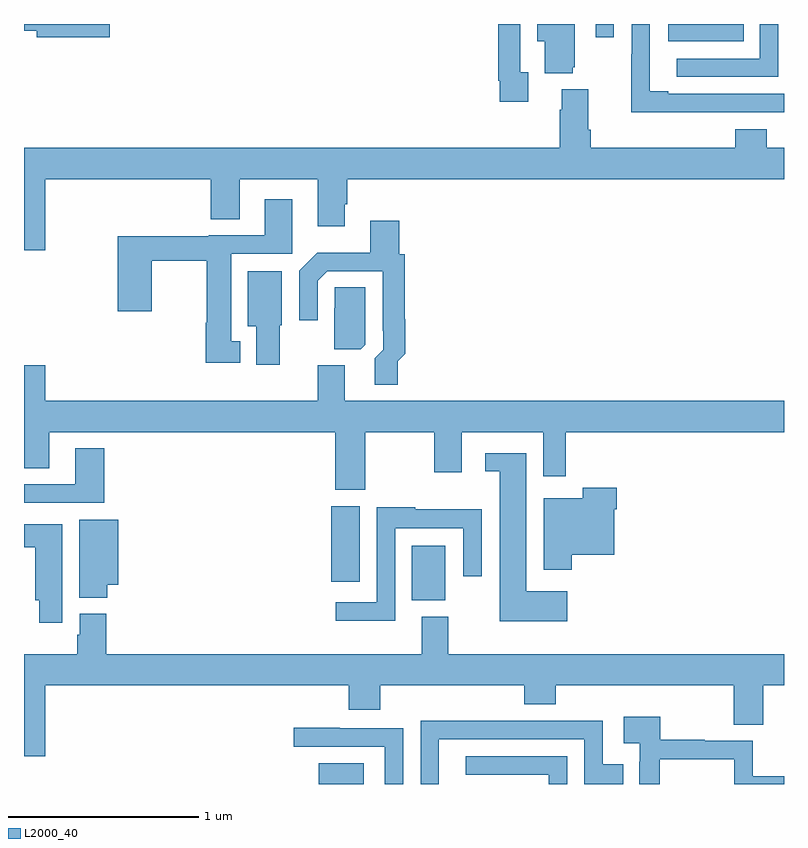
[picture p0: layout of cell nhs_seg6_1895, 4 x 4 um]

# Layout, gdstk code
import gdstk
lib = gdstk.Library(unit=1e-6, precision=1e-09)
def R(c, l, rs):  # rectangles x0, y0, x1, y1
    for r in rs: c.add(gdstk.rectangle(r[:2], r[2:], *l))
def P(c, l, *ps):  # polygons
    for p in ps: c.add(gdstk.Polygon(p, *l))
L2000_40 = (2000, 40)

nhs_seg6_1895 = lib.new_cell('nhs_seg6_1895')
R(nhs_seg6_1895, L2000_40, [(226.55,929.5,226.789,929.608), (227.042,930.467,227.218,930.754), (226.616,930.564,226.768,930.963), (228.392,933.41,228.788,933.5), (228.009,933.429,228.105,933.5)])
P(nhs_seg6_1895, L2000_40, [(228.659,933.036),(229,933.036),(229,933.132),(228.391,933.132),(228.391,933.145),(228.294,933.145),(228.294,933.5),(228.198,933.5),(228.198,933.341),(228.196,933.341),(228.196,933.035),(228.659,933.035)],
  [(227.888,933.273),(227.899,933.273),(227.899,933.5),(227.702,933.5),(227.702,933.41),(227.741,933.41),(227.741,933.242),(227.888,933.242)],
  [(225.451,933.5),(225,933.5),(225,933.464),(225.066,933.464),(225.066,933.431),(225.451,933.431)],
  [(227.653,933.246),(227.613,933.246),(227.613,933.5),(227.497,933.5),(227.497,933.202),(227.505,933.202),(227.505,933.09),(227.653,933.09)],
  [(228.969,933.5),(228.873,933.5),(228.873,933.318),(228.435,933.318),(228.435,933.222),(228.969,933.222)],
  [(225.112,932.684),(225.983,932.684),(225.983,932.473),(226.135,932.473),(226.135,932.684),(226.547,932.684),(226.547,932.436),(226.687,932.436),(226.687,932.551),(226.7,932.551),(226.7,932.684),(229,932.684),(229,932.848),(228.908,932.848),(228.908,932.947),(228.743,932.947),(228.743,932.848),(227.984,932.848),(227.984,932.944),(227.971,932.944),(227.971,933.157),(227.831,933.157),(227.831,933.05),(227.819,933.05),(227.819,932.848),(225,932.848),(225,932.31),(225.112,932.31)],
  [(226.138,931.829),(226.09,931.829),(226.09,932.292),(226.411,932.292),(226.411,932.578),(226.268,932.578),(226.268,932.388),(225.972,932.388),(225.972,932.383),(225.494,932.383),(225.494,931.989),(225.672,931.989),(225.672,932.254),(225.961,932.254),(225.961,931.928),(225.956,931.928),(225.956,931.716),(226.138,931.716)],
  [(226.967,931.725),(227.006,931.764),(227.006,931.946),(227.003,931.946),(227.003,932.289),(226.976,932.289),(226.976,932.464),(226.823,932.464),(226.823,932.296),(226.543,932.296),(226.449,932.202),(226.449,931.941),(226.545,931.941),(226.545,932.148),(226.596,932.199),(226.887,932.199),(226.887,931.885),(226.89,931.885),(226.89,931.785),(226.847,931.742),(226.847,931.602),(226.967,931.602)],
  [(226.345,931.914),(226.357,931.914),(226.357,932.2),(226.178,932.2),(226.178,931.91),(226.223,931.91),(226.223,931.707),(226.345,931.707)],
  [(226.797,931.812),(226.797,932.114),(226.635,932.114),(226.635,932.003),(226.634,932.003),(226.634,931.789),(226.773,931.789)],
  [(226.797,931.352),(227.158,931.352),(227.158,931.14),(227.305,931.14),(227.305,931.352),(227.732,931.352),(227.732,931.119),(227.851,931.119),(227.851,931.352),(229,931.352),(229,931.516),(226.687,931.516),(226.687,931.704),(226.547,931.704),(226.547,931.516),(225.112,931.516),(225.112,931.705),(225,931.705),(225,931.162),(225.133,931.162),(225.133,931.352),(226.637,931.352),(226.637,931.048),(226.797,931.048)],
  [(225.422,931.267),(225.269,931.267),(225.269,931.077),(225,931.077),(225,930.981),(225.422,930.981)],
  [(227.86,930.514),(227.644,930.514),(227.644,931.242),(227.427,931.242),(227.427,931.145),(227.504,931.145),(227.504,930.356),(227.86,930.356)],
  [(227.882,930.707),(228.106,930.707),(228.106,930.947),(228.119,930.947),(228.119,931.06),(227.941,931.06),(227.941,931.003),(227.735,931.003),(227.735,930.627),(227.882,930.627)],
  [(226.953,930.845),(227.313,930.845),(227.313,930.594),(227.409,930.594),(227.409,930.946),(227.06,930.946),(227.06,930.956),(226.857,930.956),(226.857,930.456),(226.641,930.456),(226.641,930.359),(226.953,930.359)],
  [(225.437,930.548),(225.496,930.548),(225.496,930.892),(225.29,930.892),(225.29,930.481),(225.437,930.481)],
  [(225.202,930.868),(225,930.868),(225,930.746),(225.059,930.746),(225.059,930.468),(225.08,930.468),(225.08,930.348),(225.202,930.348)],
  [(226.709,929.892),(226.874,929.892),(226.874,930.02),(227.633,930.02),(227.633,929.921),(227.798,929.921),(227.798,930.02),(228.736,930.02),(228.736,929.812),(228.891,929.812),(228.891,930.02),(229,930.02),(229,930.184),(227.233,930.184),(227.233,930.379),(227.093,930.379),(227.093,930.184),(225.434,930.184),(225.434,930.396),(225.293,930.396),(225.293,930.285),(225.281,930.285),(225.281,930.184),(225,930.184),(225,929.646),(225.112,929.646),(225.112,930.02),(226.709,930.02)],
  [(228.346,929.63),(228.737,929.63),(228.737,929.5),(229,929.5),(229,929.541),(228.836,929.541),(228.836,929.727),(228.582,929.727),(228.582,929.732),(228.349,929.732),(228.349,929.854),(228.156,929.854),(228.156,929.714),(228.24,929.714),(228.24,929.618),(228.239,929.618),(228.239,929.5),(228.346,929.5)],
  [(227.184,929.736),(227.949,929.736),(227.949,929.5),(228.154,929.5),(228.154,929.604),(228.045,929.604),(228.045,929.832),(227.549,929.832),(227.549,929.834),(227.088,929.834),(227.088,929.5),(227.184,929.5)],
  [(226.995,929.793),(226.663,929.793),(226.663,929.797),(226.419,929.797),(226.419,929.697),(226.899,929.697),(226.899,929.5),(226.995,929.5)],
  [(227.859,929.646),(227.325,929.646),(227.325,929.55),(227.763,929.55),(227.763,929.5),(227.859,929.5)])

lib.write_gds('nhs_seg6_1895.gds')
